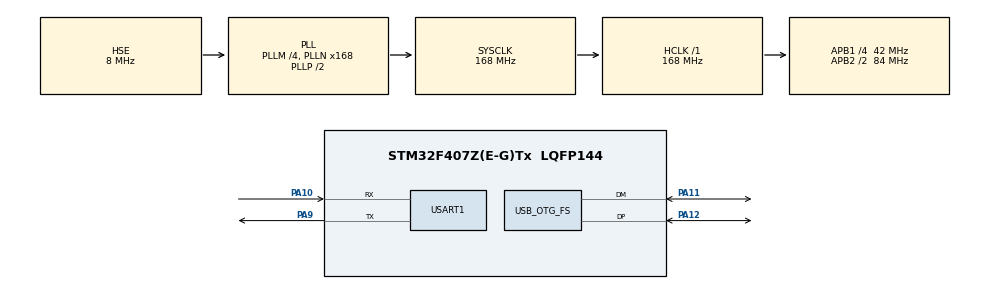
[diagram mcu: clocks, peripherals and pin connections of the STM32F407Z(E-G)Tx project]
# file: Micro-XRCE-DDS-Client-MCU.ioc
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FREERTOS.Tasks01=defaultTask,0,1024,StartDefaultTask,Default,NULL,Dynamic,NULL,NULL
FREERTOS.configMAX_TASK_NAME_LEN=32
FREERTOS.configUSE_NEWLIB_REENTRANT=1
Mcu.Family=STM32F4
Mcu.Name=STM32F407Z(E-G)Tx
Mcu.Package=LQFP144
NVIC.OTG_FS_IRQn=true\:5\:0\:false\:false\:true\:true\:false\:true\:true
NVIC.PriorityGroup=NVIC_PRIORITYGROUP_4
NVIC.TIM7_IRQn=true\:15\:0\:false\:false\:true\:false\:false\:true\:true
NVIC.TimeBase=TIM7_IRQn
NVIC.TimeBaseIP=TIM7
NVIC.USART1_IRQn=true\:5\:0\:false\:false\:true\:true\:true\:true\:true
PA10.Mode=Asynchronous
PA10.Signal=USART1_RX
PA11.Mode=Device_Only
PA11.Signal=USB_OTG_FS_DM
PA12.Mode=Device_Only
PA12.Signal=USB_OTG_FS_DP
PA13.Mode=Serial_Wire
PA13.Signal=SYS_JTMS-SWDIO
PA14.Mode=Serial_Wire
PA14.Signal=SYS_JTCK-SWCLK
PA9.Mode=Asynchronous
PA9.Signal=USART1_TX
PH0-OSC_IN.Mode=HSE-External-Oscillator
PH0-OSC_IN.Signal=RCC_OSC_IN
PH1-OSC_OUT.Mode=HSE-External-Oscillator
PH1-OSC_OUT.Signal=RCC_OSC_OUT
ProjectManager.HeapSize=0x200
ProjectManager.StackSize=0x400
ProjectManager.TargetToolchain=STM32CubeIDE
RCC.48MHZClocksFreq_Value=48000000
RCC.AHBFreq_Value=168000000
RCC.APB1CLKDivider=RCC_HCLK_DIV4
RCC.APB1Freq_Value=42000000
RCC.APB1TimFreq_Value=84000000
RCC.APB2CLKDivider=RCC_HCLK_DIV2
RCC.APB2Freq_Value=84000000
RCC.APB2TimFreq_Value=168000000
RCC.CortexFreq_Value=168000000
RCC.HCLKFreq_Value=168000000
RCC.HSE_VALUE=8000000
RCC.HSI_VALUE=16000000
RCC.LSE_VALUE=32768
RCC.PLLM=4
RCC.PLLN=168
RCC.PLLQ=7
RCC.RCC_RTC_Clock_SourceVirtual=RCC_RTCCLKSOURCE_HSE_DIV8
RCC.RCC_RTC_Clock_Source_FROM_HSE=RCC_RTCCLKSOURCE_HSE_DIV8
RCC.SYSCLKFreq_VALUE=168000000
RCC.SYSCLKSource=RCC_SYSCLKSOURCE_PLLCLK
RCC.VCOOutputFreq_Value=336000000
RTC.AsynchPrediv=49
RTC.Date=11
RTC.Format=RTC_FORMAT_BIN
RTC.Month=RTC_MONTH_DECEMBER
RTC.SynchPrediv=19999
RTC.Year=53
USART1.VirtualMode=VM_ASYNC
USB_DEVICE.APP_RX_DATA_SIZE-CDC_FS=1024
USB_DEVICE.APP_TX_DATA_SIZE-CDC_FS=1024
USB_DEVICE.CLASS_NAME_FS=CDC
USB_DEVICE.VirtualMode-CDC_FS=Cdc
USB_DEVICE.VirtualModeFS=Cdc_FS
USB_OTG_FS.VirtualMode=Device_Only
VP_FREERTOS_VS_CMSIS_V1.Mode=CMSIS_V1
VP_RTC_VS_RTC_Activate.Mode=RTC_Enabled
VP_RTC_VS_RTC_Calendar.Mode=RTC_Calendar
VP_SYS_VS_tim7.Mode=TIM7
VP_USB_DEVICE_VS_USB_DEVICE_CDC_FS.Mode=CDC_FS
board=custom

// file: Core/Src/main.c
/* USER CODE BEGIN Header */
/**
  ******************************************************************************
  * @file           : main.c
  * @brief          : Main program body
  ******************************************************************************
  * @attention
  *
  * Copyright (c) 2023 STMicroelectronics.
  * All rights reserved.
  *
  * This software is licensed under terms that can be found in the LICENSE file
  * in the root directory of this software component.
  * If no LICENSE file comes with this software, it is provided AS-IS.
  *
  ******************************************************************************
  */
/* USER CODE END Header */
#include "main.h"
#include "cmsis_os.h"
#include "rtc.h"
#include "usart.h"
#include "usb_device.h"
#include "gpio.h"

/* USER CODE BEGIN Includes */
#include <stdio.h>
#include <errno.h>
#include <unistd.h>
#include <stdio.h>
#include <time.h>
/* USER CODE END Includes */

void SystemClock_Config(void);
void MX_FREERTOS_Init(void);

int main(void)
{

  /* MCU Configuration--------------------------------------------------------*/

  /* Reset of all peripherals, Initializes the Flash interface and the Systick. */
  HAL_Init();

  /* Configure the system clock */
  SystemClock_Config();

  /* Initialize all configured peripherals */
  MX_GPIO_Init();
  MX_RTC_Init();
  MX_USART1_UART_Init();

  /* Call init function for freertos objects (in freertos.c) */
  MX_FREERTOS_Init();

  /* Start scheduler */
  osKernelStart();

  /* We should never get here as control is now taken by the scheduler */
  /* Infinite loop */
  while (1)
  {

  }
}

void SystemClock_Config(void)
{
  RCC_OscInitTypeDef RCC_OscInitStruct = {0};
  RCC_ClkInitTypeDef RCC_ClkInitStruct = {0};

  /** Configure the main internal regulator output voltage
  */
  __HAL_RCC_PWR_CLK_ENABLE();
  __HAL_PWR_VOLTAGESCALING_CONFIG(PWR_REGULATOR_VOLTAGE_SCALE1);

  /** Initializes the RCC Oscillators according to the specified parameters
  * in the RCC_OscInitTypeDef structure.
  */
  RCC_OscInitStruct.OscillatorType = RCC_OSCILLATORTYPE_HSE;
  RCC_OscInitStruct.HSEState = RCC_HSE_ON;
  RCC_OscInitStruct.PLL.PLLState = RCC_PLL_ON;
  RCC_OscInitStruct.PLL.PLLSource = RCC_PLLSOURCE_HSE;
  RCC_OscInitStruct.PLL.PLLM = 4;
  RCC_OscInitStruct.PLL.PLLN = 168;
  RCC_OscInitStruct.PLL.PLLP = RCC_PLLP_DIV2;
  RCC_OscInitStruct.PLL.PLLQ = 7;
  if (HAL_RCC_OscConfig(&RCC_OscInitStruct) != HAL_OK)
  {
    Error_Handler();
  }

  /** Initializes the CPU, AHB and APB buses clocks
  */
  RCC_ClkInitStruct.ClockType = RCC_CLOCKTYPE_HCLK|RCC_CLOCKTYPE_SYSCLK
                              |RCC_CLOCKTYPE_PCLK1|RCC_CLOCKTYPE_PCLK2;
  RCC_ClkInitStruct.SYSCLKSource = RCC_SYSCLKSOURCE_PLLCLK;
  RCC_ClkInitStruct.AHBCLKDivider = RCC_SYSCLK_DIV1;
  RCC_ClkInitStruct.APB1CLKDivider = RCC_HCLK_DIV4;
  RCC_ClkInitStruct.APB2CLKDivider = RCC_HCLK_DIV2;

  if (HAL_RCC_ClockConfig(&RCC_ClkInitStruct, FLASH_LATENCY_5) != HAL_OK)
  {
    Error_Handler();
  }
}

/* USER CODE BEGIN 4 */
int clock_gettime( clockid_t clock_id,struct timespec * tp )
{
	(void)clock_id;
	RTC_TimeTypeDef rtc_time = {0};
	RTC_DateTypeDef rtc_date = {0};
	struct tm _tm;
	HAL_RTC_GetTime(&hrtc, &rtc_time, RTC_FORMAT_BIN);
	HAL_RTC_GetDate(&hrtc, &rtc_date, RTC_FORMAT_BIN);
	_tm.tm_year = rtc_date.Year+70; //RTC_Year rang 0-99,but tm_year since 1900
	_tm.tm_mon = rtc_date.Month;   //RTC_Month rang 1-12,but tm_mon rang 0-11
	_tm.tm_mday = rtc_date.Date;     //RTC_Date rang 1-31 and tm_mday rang 1-31
	_tm.tm_hour = rtc_time.Hours;  //RTC_Hours rang 0-23 and tm_hour rang 0-23
	_tm.tm_min = rtc_time.Minutes;   //RTC_Minutes rang 0-59 and tm_min rang 0-59
	_tm.tm_sec = rtc_time.Seconds;
	tp->tv_sec = mktime(&_tm);
	tp->tv_nsec = (long)((float)(hrtc.Init.SynchPrediv - rtc_time.SubSeconds)/(hrtc.Init.SynchPrediv+1.0f)*1000000000.0f);
    return 0;
}
int _write(int file, char *data, int len)
{
   if ((file != STDOUT_FILENO) && (file != STDERR_FILENO))
   {
      errno = EBADF;
      return -1;
   }

   // arbitrary timeout 1000
   HAL_StatusTypeDef status = HAL_UART_Transmit(&huart1, (uint8_t*)data, len, 1000);

   // return # of bytes written - as best we can tell
   return (status == HAL_OK ? len : 0);
}
/* USER CODE END 4 */

void HAL_TIM_PeriodElapsedCallback(TIM_HandleTypeDef *htim)
{
  if (htim->Instance == TIM7) {
    HAL_IncTick();
  }
}

void Error_Handler(void)
{
  __disable_irq();
  while (1)
  {
  }
}

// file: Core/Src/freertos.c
/* USER CODE BEGIN Header */
/**
  ******************************************************************************
  * File Name          : freertos.c
  * Description        : Code for freertos applications
  ******************************************************************************
  * @attention
  *
  * Copyright (c) 2023 STMicroelectronics.
  * All rights reserved.
  *
  * This software is licensed under terms that can be found in the LICENSE file
  * in the root directory of this software component.
  * If no LICENSE file comes with this software, it is provided AS-IS.
  *
  ******************************************************************************
  */
/* USER CODE END Header */

#include "FreeRTOS.h"
#include "task.h"
#include "main.h"
#include "cmsis_os.h"

/* USER CODE BEGIN Includes */
#include <unistd.h>
#include <errno.h>
#include <stdio.h>
#include <string.h>
#include <stdbool.h>
#include <time.h>
#include <uxr_transport.h>
#include "uxr/client/transport.h"
#include "uxr/client/client.h"
#include "HelloWorld.h"
#include "usart.h"
/* USER CODE END Includes */

/* USER CODE BEGIN PD */
#define STREAM_HISTORY  4
#define BUFFER_SIZE     UXR_CONFIG_CUSTOM_TRANSPORT_MTU*STREAM_HISTORY

/* USER CODE END PD */

/* USER CODE BEGIN Variables */
uint8_t output_reliable_stream_buffer[BUFFER_SIZE];
uint8_t input_reliable_stream_buffer[BUFFER_SIZE];
const char* participant_xml = "<dds>"
        "<participant>"
        "<rtps>"
        "<name>default_xrce_participant</name>"
        "</rtps>"
        "</participant>"
        "</dds>";
const char* topic_xml = "<dds>"
        "<topic>"
        "<name>HelloWorldTopic</name>"
        "<dataType>HelloWorld</dataType>"
        "</topic>"
        "</dds>";
const char* datawriter_xml = "<dds>"
        "<data_writer>"
        "<topic>"
        "<kind>NO_KEY</kind>"
        "<name>HelloWorldTopic</name>"
        "<dataType>HelloWorld</dataType>"
        "</topic>"
        "</data_writer>"
        "</dds>";
/* USER CODE END Variables */
osThreadId defaultTaskHandle;

void StartDefaultTask(void const * argument);

extern void MX_USB_DEVICE_Init(void);
void MX_FREERTOS_Init(void); /* (MISRA C 2004 rule 8.1) */

/* GetIdleTaskMemory prototype (linked to static allocation support) */
void vApplicationGetIdleTaskMemory( StaticTask_t **ppxIdleTaskTCBBuffer, StackType_t **ppxIdleTaskStackBuffer, uint32_t *pulIdleTaskStackSize );

/* USER CODE BEGIN GET_IDLE_TASK_MEMORY */
static StaticTask_t xIdleTaskTCBBuffer;
static StackType_t xIdleStack[configMINIMAL_STACK_SIZE];

void vApplicationGetIdleTaskMemory( StaticTask_t **ppxIdleTaskTCBBuffer, StackType_t **ppxIdleTaskStackBuffer, uint32_t *pulIdleTaskStackSize )
{
  *ppxIdleTaskTCBBuffer = &xIdleTaskTCBBuffer;
  *ppxIdleTaskStackBuffer = &xIdleStack[0];
  *pulIdleTaskStackSize = configMINIMAL_STACK_SIZE;
  /* place for user code */
}
/* USER CODE END GET_IDLE_TASK_MEMORY */

void MX_FREERTOS_Init(void) {

  /* Create the thread(s) */
  /* definition and creation of defaultTask */
  osThreadDef(defaultTask, StartDefaultTask, osPriorityNormal, 0, 1024);
  defaultTaskHandle = osThreadCreate(osThread(defaultTask), NULL);

}

void StartDefaultTask(void const * argument)
{
  /* init code for USB_DEVICE */
  MX_USB_DEVICE_Init();
  /* USER CODE BEGIN StartDefaultTask */
  printf("Hardware initialize OK.\r\n");
  uxrCustomTransport transport;

  uxr_set_custom_transport_callbacks(
      &transport,
      true,
      my_custom_transport_open,
      my_custom_transport_close,
      my_custom_transport_write,
      my_custom_transport_read);

  if (!uxr_init_custom_transport(&transport, NULL))
  {
	  while(1);
  }

  uxrSession session;
  uxr_init_session(&session, &transport.comm, 0x08ABCDEF);
  if (!uxr_create_session(&session))
  {
	  while(1);
  }
  // Streams

  uxrStreamId reliable_out = uxr_create_output_reliable_stream(&session, output_reliable_stream_buffer, BUFFER_SIZE,
                  STREAM_HISTORY);

  uxr_create_input_reliable_stream(&session, input_reliable_stream_buffer, BUFFER_SIZE, STREAM_HISTORY);

  // Create entities
  uxrObjectId participant_id = uxr_object_id(0x01, UXR_PARTICIPANT_ID);

  uint16_t participant_req = uxr_buffer_create_participant_xml(&session, reliable_out, participant_id, 0,
                  participant_xml, UXR_REPLACE);

  uxrObjectId topic_id = uxr_object_id(0x01, UXR_TOPIC_ID);

  uint16_t topic_req = uxr_buffer_create_topic_xml(&session, reliable_out, topic_id, participant_id, topic_xml,
                  UXR_REPLACE);

  uxrObjectId publisher_id = uxr_object_id(0x01, UXR_PUBLISHER_ID);
  const char* publisher_xml = "";
  uint16_t publisher_req = uxr_buffer_create_publisher_xml(&session, reliable_out, publisher_id, participant_id,
                  publisher_xml, UXR_REPLACE);

  uxrObjectId datawriter_id = uxr_object_id(0x01, UXR_DATAWRITER_ID);

  uint16_t datawriter_req = uxr_buffer_create_datawriter_xml(&session, reliable_out, datawriter_id, publisher_id,
                  datawriter_xml, UXR_REPLACE);

  // Send create entities message and wait its status
  uint8_t status[4];
  uint16_t requests[4] = {
      participant_req, topic_req, publisher_req, datawriter_req
  };
  if (!uxr_run_session_until_all_status(&session, 1000, requests, status, 4))
  {
      printf("Error at create entities: participant: %i topic: %i publisher: %i darawriter: %i\n", status[0],
              status[1], status[2], status[3]);
  }

  // Write topics
  uint32_t count = 0;
  /* Infinite loop */
  for(;;)
  {
      HelloWorld topic = {
          ++count, "Hello DDS world!"
      };

      ucdrBuffer ub;
      uint32_t topic_size = HelloWorld_size_of_topic(&topic, 0);
      uxr_prepare_output_stream(&session, reliable_out, datawriter_id, &ub, topic_size);
      HelloWorld_serialize_topic(&ub, &topic);

      printf("Send topic: %s, id: %li\n", topic.message, topic.index);
      uxr_run_session_time(&session, 1000);
  }
  // Delete resources
  uxr_delete_session(&session);
  uxr_close_custom_transport(&transport);
  /* USER CODE END StartDefaultTask */
}
